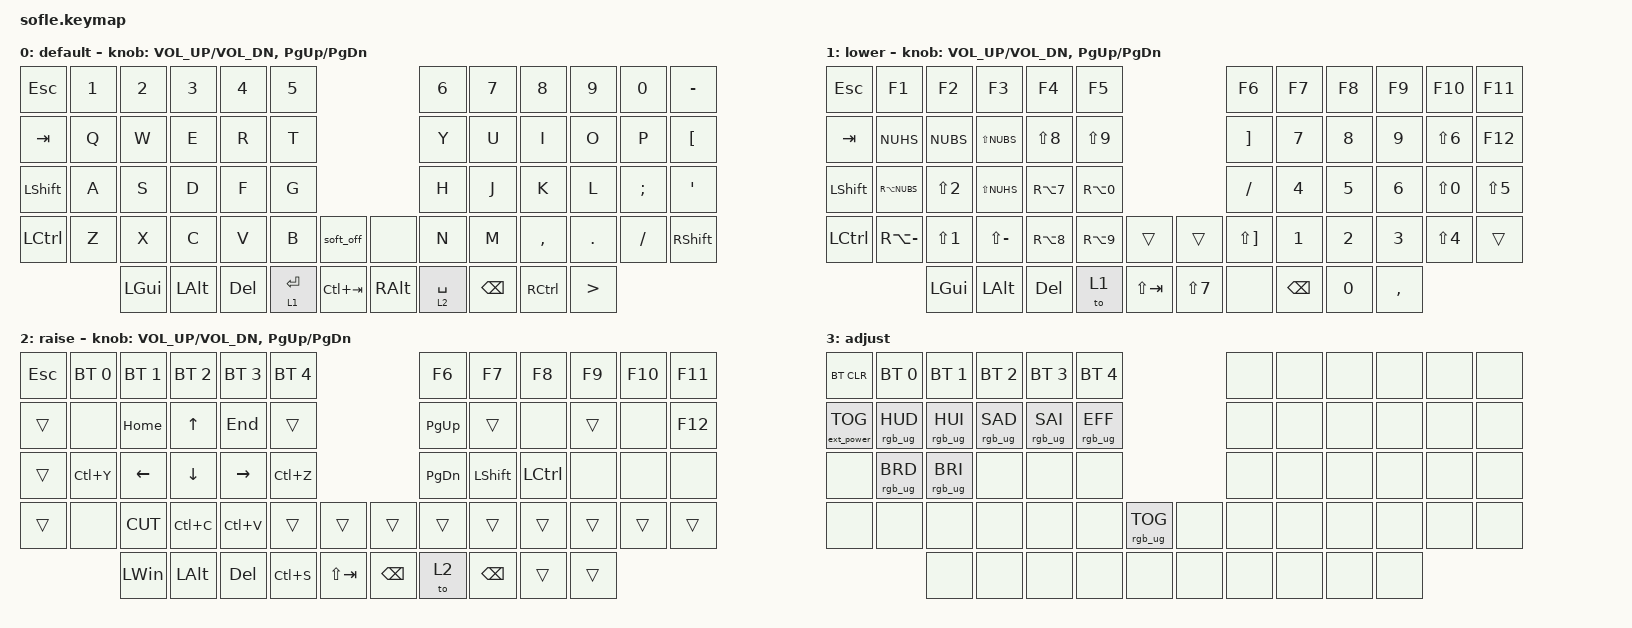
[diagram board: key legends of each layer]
/*
 * Copyright (c) 2020 The ZMK Contributors
 *
 * SPDX-License-Identifier: MIT
 */

#include <behaviors.dtsi>
#include <dt-bindings/zmk/bt.h>
#include <dt-bindings/zmk/ext_power.h>
#include <dt-bindings/zmk/keys.h>
#include <dt-bindings/zmk/rgb.h>

#define BASE 0
#define LOWER 1
#define RAISE 2
#define ADJUST 3

/ {
    // Activate ADJUST layer by pressing raise and lower

    conditional_layers {
        compatible = "zmk,conditional-layers";

        adjust_layer {
            if-layers = <LOWER RAISE>;
            then-layer = <ADJUST>;
        };
    };

    keymap {
        compatible = "zmk,keymap";

        default_layer {
            display-name = "default";

            // ------------------------------------------------------------------------------------------------------------
            // |   `   |  1  |  2  |  3   |  4   |  5   |                   |  6   |  7    |  8    |  9   |   0   |       |
            // |  ESC  |  Q  |  W  |  E   |  R   |  T   |                   |  Y   |  U    |  I    |  O   |   P   | BKSPC |
            // |  TAB  |  A  |  S  |  D   |  F   |  G   |                   |  H   |  J    |  K    |  L   |   ;   |   '   |
            // | SHIFT |  Z  |  X  |  C   |  V   |  B   |  MUTE  |  |       |  N   |  M    |  ,    |  .   |   /   | SHIFT |
            //               | GUI | ALT  | CTRL | LOWER|  ENTER |  | SPACE | RAISE| CTRL  | ALT   | GUI  |

            bindings = <
&kp ESCAPE        &kp N1  &kp N2    &kp N3    &kp N4      &kp N5                                     &kp NUMBER_6  &kp N7         &kp N8             &kp N9            &kp NUMBER_0   &kp MINUS
&kp TAB           &kp Q   &kp W     &kp E     &kp R       &kp T                                      &kp Y         &kp U          &kp I              &kp O             &kp P          &kp LEFT_BRACKET
&kp LSHIFT        &kp A   &kp S     &kp D     &kp F       &kp G                                      &kp H         &kp J          &kp K              &kp L             &kp SEMICOLON  &kp SQT
&kp LEFT_CONTROL  &kp Z   &kp X     &kp C     &kp V       &kp B        &soft_off      &none          &kp N         &kp M          &kp COMMA          &kp DOT           &kp FSLH       &kp RSHFT
                          &kp LGUI  &kp LALT  &kp DELETE  &lt 1 ENTER  &kp LC(TAB)    &kp RIGHT_ALT  &lt 2 SPACE   &kp BACKSPACE  &kp RIGHT_CONTROL  &kp GREATER_THAN
            >;

            sensor-bindings = <&inc_dec_kp C_VOL_UP C_VOL_DN &inc_dec_kp PG_UP PG_DN>;
        };

        lower_layer {
            display-name = "lower";

            // TODO: Some binds are waiting for shifted keycode support.
            // ------------------------------------------------------------------------------------------------------------
            // |       |  F1 |  F2 |  F3  |  F4  |  F5  |                   |  F6  |  F7   |  F8   |  F9  |  F10  |  F11  |
            // |   `   |  1  |  2  |  3   |  4   |  5   |                   |  6   |  7    |  8    |  9   |   0   |  F12  |
            // |       |  !  |  @  |  #   |  $   |  %   |                   |  ^   |  &    |  *    |  (   |   )   |   |   |
            // |       |  =  |  -  |  +   |  {   |  }   |        |  |       |  [   |  ]    |  ;    |  :   |   \   |       |
            //               |     |      |      |      |        |  |       |      |       |       |      |

            bindings = <
&kp ESCAPE        &kp F1         &kp F2        &kp F3         &kp F4      &kp F5                                       &kp F6                 &kp F7         &kp F8        &kp F9        &kp F10           &kp F11
&kp TAB           &kp NUHS       &kp NUBS      &kp LS(NUBS)   &kp LS(N8)  &kp LS(N9)                                   &kp RIGHT_BRACKET      &kp N7         &kp N8        &kp N9        &kp LS(N6)        &kp F12
&kp LEFT_SHIFT    &kp RA(NUBS)   &kp LS(N2)    &kp LS(NUHS)   &kp RA(N7)  &kp RA(N0)                                   &kp SLASH              &kp NUMBER_4   &kp NUMBER_5  &kp NUMBER_6  &kp LS(NUMBER_0)  &kp LS(N5)
&kp LEFT_CONTROL  &kp RA(MINUS)  &kp LS(N1)    &kp LS(MINUS)  &kp RA(N8)  &kp RA(N9)  &trans         &trans            &kp LS(RIGHT_BRACKET)  &kp NUMBER_1   &kp NUMBER_2  &kp NUMBER_3  &kp LS(N4)        &trans
                                 &kp LEFT_GUI  &kp LEFT_ALT   &kp DELETE  &to 1       &kp LS(TAB)    &kp LS(NUMBER_7)  &none                  &kp BACKSPACE  &kp NUMBER_0  &kp COMMA
            >;

            sensor-bindings = <&inc_dec_kp C_VOL_UP C_VOL_DN &inc_dec_kp PG_UP PG_DN>;
        };

        raise_layer {
            display-name = "raise";

            // ------------------------------------------------------------------------------------------------------------
            // | BTCLR | BT1  | BT2  |  BT3  |  BT4  |  BT5 |                |      |      |       |      |       |       |
            // |       | INS  | PSCR | GUI   |       |      |                | PGUP |      |   ^   |      |       |       |
            // |       | ALT  | CTRL | SHIFT |       | CAPS |                | PGDN |   <- |   v   |  ->  |  DEL  | BKSPC |
            // |       | UNDO | CUT  | COPY  | PASTE |      |      |  |      |      |      |       |      |       |       |
            //                |      |       |       |      |      |  |      |      |      |       |      |

            bindings = <
&kp ESCAPE  &bt BT_SEL 0  &bt BT_SEL 1  &bt BT_SEL 2  &bt BT_SEL 3  &bt BT_SEL 4                                &kp F6     &kp F7          &kp F8            &kp F9  &kp F10  &kp F11
&trans      &none         &kp HOME      &kp UP        &kp END       &trans                                      &kp PG_UP  &trans          &none             &trans  &none    &kp F12
&trans      &kp LC(Y)     &kp LEFT      &kp DOWN      &kp RIGHT     &kp LC(Z)                                   &kp PG_DN  &kp LEFT_SHIFT  &kp LEFT_CONTROL  &none   &none    &none
&trans      &none         &kp K_CUT     &kp LC(C)     &kp LC(V)     &trans        &trans         &trans         &trans     &trans          &trans            &trans  &trans   &trans
                          &kp LEFT_WIN  &kp LEFT_ALT  &kp DELETE    &kp LC(S)     &kp LS(TAB)    &kp BACKSPACE  &to 2      &kp BACKSPACE   &trans            &trans
            >;

            sensor-bindings = <&inc_dec_kp C_VOL_UP C_VOL_DN &inc_dec_kp PG_UP PG_DN>;
        };

        adjust_layer {
            // ----------------------------------------------------------------------------------------------------------------------------
            // | BTCLR  |  BT1    |  BT2    |   BT3   |   BT4   |   BT5   |                  |      |      |       |      |       |       |
            // | EXTPWR | RGB_HUD | RGB_HUI | RGB_SAD | RGB_SAI | RGB_EFF |                  |      |      |       |      |       |       |
            // |        | RGB_BRD | RGB_BRI |         |         |         |                  |      |      |       |      |       |       |
            // |        |         |         |         |         |         | RGB_TOG | |      |      |      |       |      |       |       |
            //                    |         |         |         |         |         | |      |      |      |       |      |

            display-name = "adjust";
            bindings = <
&bt BT_CLR         &bt BT_SEL 0     &bt BT_SEL 1     &bt BT_SEL 2     &bt BT_SEL 3     &bt BT_SEL 4                               &none  &none  &none  &none  &none  &none
&ext_power EP_TOG  &rgb_ug RGB_HUD  &rgb_ug RGB_HUI  &rgb_ug RGB_SAD  &rgb_ug RGB_SAI  &rgb_ug RGB_EFF                            &none  &none  &none  &none  &none  &none
&none              &rgb_ug RGB_BRD  &rgb_ug RGB_BRI  &none            &none            &none                                      &none  &none  &none  &none  &none  &none
&none              &none            &none            &none            &none            &none            &rgb_ug RGB_TOG    &none  &none  &none  &none  &none  &none  &none
                                    &none            &none            &none            &none            &none              &none  &none  &none  &none  &none
            >;
        };
    };
};
